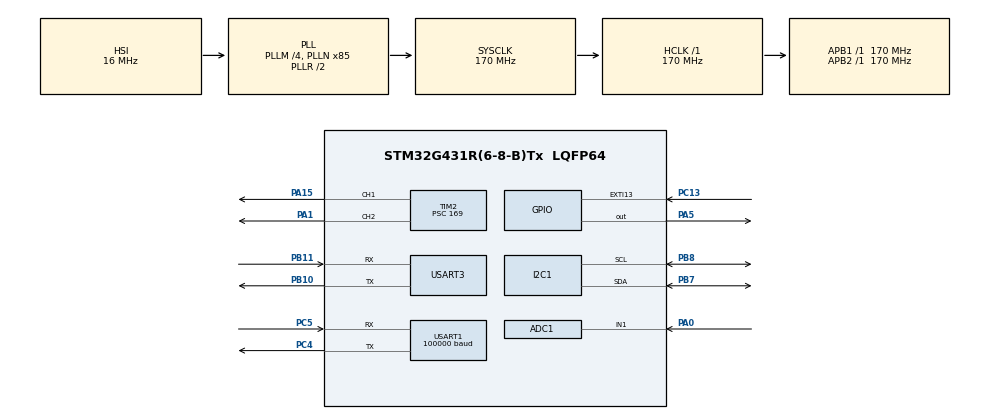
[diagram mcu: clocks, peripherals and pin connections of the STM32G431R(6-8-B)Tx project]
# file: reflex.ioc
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ADC1.Channel-0\#ChannelRegularConversion=ADC_CHANNEL_1
ADC1.NbrOfConversionFlag=1
ADC1.OffsetNumber-0\#ChannelRegularConversion=ADC_OFFSET_NONE
ADC1.Rank-0\#ChannelRegularConversion=1
ADC1.SamplingTime-0\#ChannelRegularConversion=ADC_SAMPLETIME_2CYCLES_5
ADC1.master=1
I2C1.Timing=0x40B285C2
Mcu.Family=STM32G4
Mcu.Name=STM32G431R(6-8-B)Tx
Mcu.Package=LQFP64
NUCLEO-G431RB.BUTTON=1
NUCLEO-G431RB.LD1=true
NUCLEO-G431RB.VCP=true
NVIC.EXTI15_10_IRQn=true\:0\:0\:false\:false\:true\:false\:true\:true
NVIC.PriorityGroup=NVIC_PRIORITYGROUP_4
PA0.Mode=IN1-Single-Ended
PA0.Signal=ADC1_IN1
PA1.Signal=S_TIM2_CH2
PA13.GPIO_Label=T_SWDIO
PA13.Signal=SYS_JTMS-SWDIO
PA14.GPIO_Label=T_SWCLK
PA14.Signal=SYS_JTCK-SWCLK
PA15.Signal=S_TIM2_CH1
PA2.Signal=LPUART1_TX
PA3.Signal=LPUART1_RX
PA5.Signal=GPIO_Output
PB10.Mode=Asynchronous
PB10.Signal=USART3_TX
PB11.Mode=Asynchronous
PB11.Signal=USART3_RX
PB3.GPIO_Label=T_SWO
PB3.Signal=SYS_JTDO-SWO
PB7.Mode=I2C
PB7.Signal=I2C1_SDA
PB8-BOOT0.Mode=I2C
PB8-BOOT0.Signal=I2C1_SCL
PC13.Signal=GPXTI13
PC14-OSC32_IN.GPIO_Label=RCC_OSC32_OUT
PC14-OSC32_IN.Signal=RCC_OSC32_IN
PC15-OSC32_OUT.GPIO_Label=RCC_OSC32_OUT
PC15-OSC32_OUT.Signal=RCC_OSC32_OUT
PC4.Mode=Asynchronous
PC4.Signal=USART1_TX
PC5.Mode=Asynchronous
PC5.Signal=USART1_RX
PF0-OSC_IN.GPIO_Label=RCC_OSC_IN
PF0-OSC_IN.Signal=RCC_OSC_IN
PF1-OSC_OUT.GPIO_Label=RCC_OSC_OUT
PF1-OSC_OUT.Signal=RCC_OSC_OUT
ProjectManager.HeapSize=0x200
ProjectManager.StackSize=0x400
ProjectManager.TargetToolchain=STM32CubeIDE
RCC.ADC12Freq_Value=170000000
RCC.AHBFreq_Value=170000000
RCC.APB1Freq_Value=170000000
RCC.APB1TimFreq_Value=170000000
RCC.APB2Freq_Value=170000000
RCC.APB2TimFreq_Value=170000000
RCC.CortexFreq_Value=170000000
RCC.EXTERNAL_CLOCK_VALUE=12288000
RCC.HCLKFreq_Value=170000000
RCC.HSE_VALUE=24000000
RCC.HSI48_VALUE=48000000
RCC.HSI_VALUE=16000000
RCC.LSE_VALUE=32768
RCC.PLLM=RCC_PLLM_DIV4
RCC.PLLN=85
RCC.RTCClockSelection=RCC_RTCCLKSOURCE_LSE
RCC.SYSCLKFreq_VALUE=170000000
RCC.SYSCLKSource=RCC_SYSCLKSOURCE_PLLCLK
RCC.USBFreq_Value=170000000
RCC.VCOOutputFreq_Value=340000000
SH.S_TIM2_CH1.0=TIM2_CH1,PWM Generation1 CH1
SH.S_TIM2_CH2.0=TIM2_CH2,PWM Generation2 CH2
TIM2.Channel-PWM\ Generation1\ CH1=TIM_CHANNEL_1
TIM2.Channel-PWM\ Generation2\ CH2=TIM_CHANNEL_2
TIM2.Period=19999
TIM2.Prescaler=169
USART1.BaudRate=100000
USART1.Parity=UART_PARITY_EVEN
USART1.RxPinLevelInvert=UART_ADVFEATURE_RXINV_ENABLE
USART1.AdvFeatureInit=UART_ADVFEATURE_RXINVERT_INIT
USART1.StopBits=UART_STOPBITS_2
USART1.VirtualMode-Asynchronous=VM_ASYNC
USART1.WordLength=UART_WORDLENGTH_9B
USART3.VirtualMode-Asynchronous=VM_ASYNC
VP_NUCLEO-G431RB_VS_BSP_COMMON.Mode=COMMON
VP_SYS_VS_DBSignals.Mode=DisableDeadBatterySignals
board=NUCLEO-G431RB

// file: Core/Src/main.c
/* USER CODE BEGIN Header */
/**
  ******************************************************************************
  * @file           : main.c
  * @brief          : Main program body
  ******************************************************************************
  * @attention
  *
  * Copyright (c) 2026 STMicroelectronics.
  * All rights reserved.
  *
  * This software is licensed under terms that can be found in the LICENSE file
  * in the root directory of this software component.
  * If no LICENSE file comes with this software, it is provided AS-IS.
  *
  ******************************************************************************
  */
/* USER CODE END Header */
#include "main.h"

/* USER CODE BEGIN Includes */
#include "esc.h"
#include "sbus.h"
#include "pi_link.h"
#include "failsafe.h"
#include "battery.h"
#include "imu.h"
#include "settings.h"
#include "wdg.h"
#include "clock.h"
/* USER CODE END Includes */

COM_InitTypeDef BspCOMInit;
ADC_HandleTypeDef hadc1;

I2C_HandleTypeDef hi2c1;

TIM_HandleTypeDef htim2;

UART_HandleTypeDef huart1;
UART_HandleTypeDef huart3;

/* USER CODE BEGIN PV */
static uint32_t s_lastControlTick;
static uint32_t s_lastBlinkTick;
static uint32_t s_lastBatteryTick;
static uint32_t s_lastImuTick;
/* USER CODE END PV */

void SystemClock_Config(void);
static void MX_GPIO_Init(void);
static void MX_ADC1_Init(void);
static void MX_I2C1_Init(void);
static void MX_TIM2_Init(void);
static void MX_USART1_UART_Init(void);
static void MX_USART3_UART_Init(void);

int main(void)
{

  /* MCU Configuration--------------------------------------------------------*/

  /* Reset of all peripherals, Initializes the Flash interface and the Systick. */
  HAL_Init();

  /* Configure the system clock */
  SystemClock_Config();

  /* Initialize all configured peripherals */
  MX_GPIO_Init();
  MX_ADC1_Init();
  MX_I2C1_Init();
  MX_TIM2_Init();
  MX_USART1_UART_Init();
  MX_USART3_UART_Init();
  /* USER CODE BEGIN 2 */
  Clock_Init(); /* first: IMU_Init() and every sensor timestamp need it */
  Settings_Init();
  ESC_Init();
  SBUS_Init();
  Battery_Init();
  IMU_Init();
  PiLink_Init(); /* after Settings_Init: loads the persisted RC map, see pi_link.c */
  Failsafe_Init();
  Wdg_Init(); /* enabled last: nothing above should ever block long enough
                * to need feeding, but starting the watchdog before the
                * main loop exists means any lockup from here on is caught */
  /* USER CODE END 2 */

  /* Initialize leds */
  BSP_LED_Init(LED_GREEN);

  /* Initialize USER push-button, will be used to trigger an interrupt each time it's pressed.*/
  BSP_PB_Init(BUTTON_USER, BUTTON_MODE_EXTI);

  /* Initialize COM1 port (115200, 8 bits (7-bit data + 1 stop bit), no parity */
  BspCOMInit.BaudRate   = 115200;
  BspCOMInit.WordLength = COM_WORDLENGTH_8B;
  BspCOMInit.StopBits   = COM_STOPBITS_1;
  BspCOMInit.Parity     = COM_PARITY_NONE;
  BspCOMInit.HwFlowCtl  = COM_HWCONTROL_NONE;
  if (BSP_COM_Init(COM1, &BspCOMInit) != BSP_ERROR_NONE)
  {
    Error_Handler();
  }

  /* Infinite loop */
  /* USER CODE BEGIN WHILE */
  while (1)
  {
    uint32_t now = HAL_GetTick();

    if ((now - s_lastControlTick) >= 10U)
    {
      s_lastControlTick = now;
      Failsafe_Update();
      PiLink_Process(Failsafe_IsArmed());
    }

    if ((now - s_lastBatteryTick) >= 50U)
    {
      s_lastBatteryTick = now;
      Battery_Update();
    }

    if ((now - s_lastImuTick) >= 20U)
    {
      s_lastImuTick = now;
      IMU_Update();
      ImuSample imuSample;
      if (IMU_GetSample(&imuSample))
      {
        PiLink_SendImu(&imuSample);
      }
    }

    if ((now - s_lastBlinkTick) >= 500U)
    {
      s_lastBlinkTick = now;
      BSP_LED_Toggle(LED_GREEN);
    }

    Wdg_Refresh();

    /* USER CODE END WHILE */

  }
}

void SystemClock_Config(void)
{
  RCC_OscInitTypeDef RCC_OscInitStruct = {0};
  RCC_ClkInitTypeDef RCC_ClkInitStruct = {0};

  /** Configure the main internal regulator output voltage
  */
  HAL_PWREx_ControlVoltageScaling(PWR_REGULATOR_VOLTAGE_SCALE1_BOOST);

  /** Initializes the RCC Oscillators according to the specified parameters
  * in the RCC_OscInitTypeDef structure.
  */
  RCC_OscInitStruct.OscillatorType = RCC_OSCILLATORTYPE_HSI;
  RCC_OscInitStruct.HSIState = RCC_HSI_ON;
  RCC_OscInitStruct.HSICalibrationValue = RCC_HSICALIBRATION_DEFAULT;
  RCC_OscInitStruct.PLL.PLLState = RCC_PLL_ON;
  RCC_OscInitStruct.PLL.PLLSource = RCC_PLLSOURCE_HSI;
  RCC_OscInitStruct.PLL.PLLM = RCC_PLLM_DIV4;
  RCC_OscInitStruct.PLL.PLLN = 85;
  RCC_OscInitStruct.PLL.PLLP = RCC_PLLP_DIV2;
  RCC_OscInitStruct.PLL.PLLQ = RCC_PLLQ_DIV2;
  RCC_OscInitStruct.PLL.PLLR = RCC_PLLR_DIV2;
  if (HAL_RCC_OscConfig(&RCC_OscInitStruct) != HAL_OK)
  {
    Error_Handler();
  }

  /** Initializes the CPU, AHB and APB buses clocks
  */
  RCC_ClkInitStruct.ClockType = RCC_CLOCKTYPE_HCLK|RCC_CLOCKTYPE_SYSCLK
                              |RCC_CLOCKTYPE_PCLK1|RCC_CLOCKTYPE_PCLK2;
  RCC_ClkInitStruct.SYSCLKSource = RCC_SYSCLKSOURCE_PLLCLK;
  RCC_ClkInitStruct.AHBCLKDivider = RCC_SYSCLK_DIV1;
  RCC_ClkInitStruct.APB1CLKDivider = RCC_HCLK_DIV1;
  RCC_ClkInitStruct.APB2CLKDivider = RCC_HCLK_DIV1;

  if (HAL_RCC_ClockConfig(&RCC_ClkInitStruct, FLASH_LATENCY_4) != HAL_OK)
  {
    Error_Handler();
  }
}

static void MX_ADC1_Init(void)
{

  ADC_MultiModeTypeDef multimode = {0};
  ADC_ChannelConfTypeDef sConfig = {0};

  /** Common config
  */
  hadc1.Instance = ADC1;
  hadc1.Init.ClockPrescaler = ADC_CLOCK_SYNC_PCLK_DIV4;
  hadc1.Init.Resolution = ADC_RESOLUTION_12B;
  hadc1.Init.DataAlign = ADC_DATAALIGN_RIGHT;
  hadc1.Init.GainCompensation = 0;
  hadc1.Init.ScanConvMode = ADC_SCAN_DISABLE;
  hadc1.Init.EOCSelection = ADC_EOC_SINGLE_CONV;
  hadc1.Init.LowPowerAutoWait = DISABLE;
  hadc1.Init.ContinuousConvMode = DISABLE;
  hadc1.Init.NbrOfConversion = 1;
  hadc1.Init.DiscontinuousConvMode = DISABLE;
  hadc1.Init.ExternalTrigConv = ADC_SOFTWARE_START;
  hadc1.Init.ExternalTrigConvEdge = ADC_EXTERNALTRIGCONVEDGE_NONE;
  hadc1.Init.DMAContinuousRequests = DISABLE;
  hadc1.Init.Overrun = ADC_OVR_DATA_PRESERVED;
  hadc1.Init.OversamplingMode = DISABLE;
  if (HAL_ADC_Init(&hadc1) != HAL_OK)
  {
    Error_Handler();
  }

  /** Configure the ADC multi-mode
  */
  multimode.Mode = ADC_MODE_INDEPENDENT;
  if (HAL_ADCEx_MultiModeConfigChannel(&hadc1, &multimode) != HAL_OK)
  {
    Error_Handler();
  }

  /** Configure Regular Channel
  */
  sConfig.Channel = ADC_CHANNEL_1;
  sConfig.Rank = ADC_REGULAR_RANK_1;
  sConfig.SamplingTime = ADC_SAMPLETIME_2CYCLES_5;
  sConfig.SingleDiff = ADC_SINGLE_ENDED;
  sConfig.OffsetNumber = ADC_OFFSET_NONE;
  sConfig.Offset = 0;
  if (HAL_ADC_ConfigChannel(&hadc1, &sConfig) != HAL_OK)
  {
    Error_Handler();
  }

}

static void MX_I2C1_Init(void)
{

  hi2c1.Instance = I2C1;
  hi2c1.Init.Timing = 0x40B285C2;
  hi2c1.Init.OwnAddress1 = 0;
  hi2c1.Init.AddressingMode = I2C_ADDRESSINGMODE_7BIT;
  hi2c1.Init.DualAddressMode = I2C_DUALADDRESS_DISABLE;
  hi2c1.Init.OwnAddress2 = 0;
  hi2c1.Init.OwnAddress2Masks = I2C_OA2_NOMASK;
  hi2c1.Init.GeneralCallMode = I2C_GENERALCALL_DISABLE;
  hi2c1.Init.NoStretchMode = I2C_NOSTRETCH_DISABLE;
  if (HAL_I2C_Init(&hi2c1) != HAL_OK)
  {
    Error_Handler();
  }

  /** Configure Analogue filter
  */
  if (HAL_I2CEx_ConfigAnalogFilter(&hi2c1, I2C_ANALOGFILTER_ENABLE) != HAL_OK)
  {
    Error_Handler();
  }

  /** Configure Digital filter
  */
  if (HAL_I2CEx_ConfigDigitalFilter(&hi2c1, 0) != HAL_OK)
  {
    Error_Handler();
  }

}

static void MX_TIM2_Init(void)
{

  TIM_MasterConfigTypeDef sMasterConfig = {0};
  TIM_OC_InitTypeDef sConfigOC = {0};

  htim2.Instance = TIM2;
  htim2.Init.Prescaler = 169;
  htim2.Init.CounterMode = TIM_COUNTERMODE_UP;
  htim2.Init.Period = 19999;
  htim2.Init.ClockDivision = TIM_CLOCKDIVISION_DIV1;
  htim2.Init.AutoReloadPreload = TIM_AUTORELOAD_PRELOAD_DISABLE;
  if (HAL_TIM_PWM_Init(&htim2) != HAL_OK)
  {
    Error_Handler();
  }
  sMasterConfig.MasterOutputTrigger = TIM_TRGO_RESET;
  sMasterConfig.MasterSlaveMode = TIM_MASTERSLAVEMODE_DISABLE;
  if (HAL_TIMEx_MasterConfigSynchronization(&htim2, &sMasterConfig) != HAL_OK)
  {
    Error_Handler();
  }
  sConfigOC.OCMode = TIM_OCMODE_PWM1;
  sConfigOC.Pulse = 0;
  sConfigOC.OCPolarity = TIM_OCPOLARITY_HIGH;
  sConfigOC.OCFastMode = TIM_OCFAST_DISABLE;
  if (HAL_TIM_PWM_ConfigChannel(&htim2, &sConfigOC, TIM_CHANNEL_1) != HAL_OK)
  {
    Error_Handler();
  }
  if (HAL_TIM_PWM_ConfigChannel(&htim2, &sConfigOC, TIM_CHANNEL_2) != HAL_OK)
  {
    Error_Handler();
  }
  HAL_TIM_MspPostInit(&htim2);

}

static void MX_USART1_UART_Init(void)
{

  huart1.Instance = USART1;
  huart1.Init.BaudRate = 100000;
  huart1.Init.WordLength = UART_WORDLENGTH_9B;
  huart1.Init.StopBits = UART_STOPBITS_2;
  huart1.Init.Parity = UART_PARITY_EVEN;
  huart1.Init.Mode = UART_MODE_TX_RX;
  huart1.Init.HwFlowCtl = UART_HWCONTROL_NONE;
  huart1.Init.OverSampling = UART_OVERSAMPLING_16;
  huart1.Init.OneBitSampling = UART_ONE_BIT_SAMPLE_DISABLE;
  huart1.Init.ClockPrescaler = UART_PRESCALER_DIV1;
  huart1.AdvancedInit.AdvFeatureInit = UART_ADVFEATURE_RXINVERT_INIT;
  huart1.AdvancedInit.RxPinLevelInvert = UART_ADVFEATURE_RXINV_ENABLE;
  if (HAL_UART_Init(&huart1) != HAL_OK)
  {
    Error_Handler();
  }
  if (HAL_UARTEx_SetTxFifoThreshold(&huart1, UART_TXFIFO_THRESHOLD_1_8) != HAL_OK)
  {
    Error_Handler();
  }
  if (HAL_UARTEx_SetRxFifoThreshold(&huart1, UART_RXFIFO_THRESHOLD_1_8) != HAL_OK)
  {
    Error_Handler();
  }
  if (HAL_UARTEx_DisableFifoMode(&huart1) != HAL_OK)
  {
    Error_Handler();
  }

}

static void MX_USART3_UART_Init(void)
{

  huart3.Instance = USART3;
  huart3.Init.BaudRate = 115200;
  huart3.Init.WordLength = UART_WORDLENGTH_8B;
  huart3.Init.StopBits = UART_STOPBITS_1;
  huart3.Init.Parity = UART_PARITY_NONE;
  huart3.Init.Mode = UART_MODE_TX_RX;
  huart3.Init.HwFlowCtl = UART_HWCONTROL_NONE;
  huart3.Init.OverSampling = UART_OVERSAMPLING_16;
  huart3.Init.OneBitSampling = UART_ONE_BIT_SAMPLE_DISABLE;
  huart3.Init.ClockPrescaler = UART_PRESCALER_DIV1;
  huart3.AdvancedInit.AdvFeatureInit = UART_ADVFEATURE_NO_INIT;
  if (HAL_UART_Init(&huart3) != HAL_OK)
  {
    Error_Handler();
  }
  if (HAL_UARTEx_SetTxFifoThreshold(&huart3, UART_TXFIFO_THRESHOLD_1_8) != HAL_OK)
  {
    Error_Handler();
  }
  if (HAL_UARTEx_SetRxFifoThreshold(&huart3, UART_RXFIFO_THRESHOLD_1_8) != HAL_OK)
  {
    Error_Handler();
  }
  if (HAL_UARTEx_DisableFifoMode(&huart3) != HAL_OK)
  {
    Error_Handler();
  }

}

static void MX_GPIO_Init(void)
{

  /* GPIO Ports Clock Enable */
  __HAL_RCC_GPIOC_CLK_ENABLE();
  __HAL_RCC_GPIOF_CLK_ENABLE();
  __HAL_RCC_GPIOA_CLK_ENABLE();
  __HAL_RCC_GPIOB_CLK_ENABLE();

}

/* USER CODE BEGIN 4 */

void HAL_UART_RxCpltCallback(UART_HandleTypeDef *huart)
{
  SBUS_UART_RxCpltCallback(huart);
  PiLink_UART_RxCpltCallback(huart);
}

void HAL_UART_ErrorCallback(UART_HandleTypeDef *huart)
{
  SBUS_UART_ErrorCallback(huart);
  PiLink_UART_ErrorCallback(huart);
}

void HAL_UART_TxCpltCallback(UART_HandleTypeDef *huart)
{
  PiLink_UART_TxCpltCallback(huart);
}

/* USER CODE END 4 */

void Error_Handler(void)
{
  __disable_irq();
  while (1)
  {
  }
}
